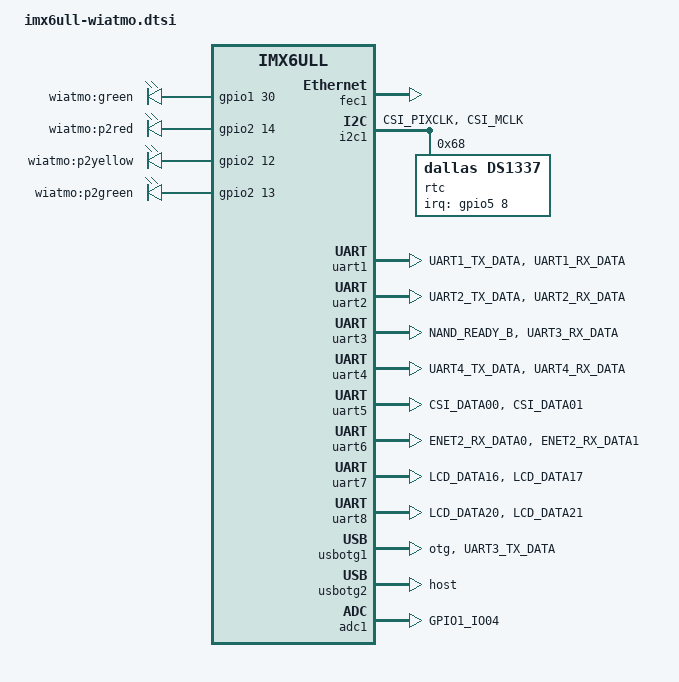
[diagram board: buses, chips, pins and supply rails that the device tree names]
/*
 * Copyright (C) NKE
 *
 */

 /dts-v1/;

 #include "imx6ull.dtsi"
 #include "imx6ull-var-som.dtsi"
 #include "imx6ul-imx6ull-var-som-emmc.dtsi"

/{

	chosen {
		stdout-path = &uart1;
	};

	leds {
		compatible = "gpio-leds";
		pinctrl-names = "default";
		pinctrl-0 = <&pinctrl_gpio_leds>;

		greenled {
			label = "wiatmo:green";
			gpios = <&gpio1 30 GPIO_ACTIVE_HIGH>;
			default-state = "off";
		};

		p2red {
			label = "wiatmo:p2red";
			gpios = <&gpio2 14 GPIO_ACTIVE_HIGH>;
			default-state = "off";
		};

		p2yellow {
			label = "wiatmo:p2yellow";
			gpios = <&gpio2 12 GPIO_ACTIVE_HIGH>;
			default-state = "off";
		};

		p2green {
			label = "wiatmo:p2green";
			gpios = <&gpio2 13 GPIO_ACTIVE_HIGH>;
			default-state = "off";
		};

	};
};


&fec1 {
	pinctrl-0 = <&pinctrl_enet1>, <&pinctrl_enet1_gpio>;
	phy-reset-on-resume;
	status = "okay";
};


&i2c1 {
	clock_frequency = <100000>;
	pinctrl-names = "default";
	pinctrl-0 = <&pinctrl_i2c1>;
	status = "okay";

	rtc@68 {
		compatible = "dallas,ds1337";
		reg = <0x68>;
		pinctrl-names = "default";

		pinctrl-0 = <&pinctrl_rtc>;

		interrupt-parent = <&gpio5>;
		interrupts = <8 IRQ_TYPE_EDGE_FALLING>;

	};
};

&snvs_rtc {
	status = "disabled";
};

&iomuxc_snvs {

	pinctrl_rtc: rtcgrp {
		fsl,pins = <
			MX6ULL_PAD_SNVS_TAMPER8__GPIO5_IO08		0x1b0b0 /* RTC alarm IRQ */
		>;
	};
};


&iomuxc {
	pinctrl-names = "default";
	pinctrl-0 = <&pinctrl_gpio_user>;


	pinctrl_usb_otg1_id: usbotg1idgrp {
		fsl,pins = <
			MX6UL_PAD_UART3_TX_DATA__ANATOP_OTG1_ID	0x17059
		>;
	};

	pinctrl_i2c1: i2c1grp {
		fsl,pins = <
			MX6UL_PAD_CSI_PIXCLK__I2C1_SCL		0x4001b8b0
			MX6UL_PAD_CSI_MCLK__I2C1_SDA		0x4001b8b0
		>;
	};

	pinctrl_uart1: uart1grp {
		fsl,pins = <
			MX6UL_PAD_UART1_TX_DATA__UART1_DCE_TX	0x1b0b1
			MX6UL_PAD_UART1_RX_DATA__UART1_DCE_RX	0x1b0b1
		>;
	};

	pinctrl_uart2: uart2grp {
		fsl,pins = <
			MX6UL_PAD_UART2_TX_DATA__UART2_DCE_TX	0x1b0b1
			MX6UL_PAD_UART2_RX_DATA__UART2_DCE_RX	0x1b0b1
		>;
	};

	pinctrl_uart3: uart3grp {
		fsl,pins = <
			MX6UL_PAD_NAND_READY_B__UART3_DCE_TX    0x1b0b1
			MX6UL_PAD_UART3_RX_DATA__UART3_DCE_RX   0x1b0b1
		>;
	};

	pinctrl_uart4: uart4grp {
		fsl,pins = <
			MX6UL_PAD_UART4_TX_DATA__UART4_DCE_TX   0x1b0b1
			MX6UL_PAD_UART4_RX_DATA__UART4_DCE_RX   0x1b0b1
		>;
	};

	pinctrl_uart5: uart5grp {
		fsl,pins = <
			MX6UL_PAD_CSI_DATA00__UART5_DCE_TX      0x1b0b1
			MX6UL_PAD_CSI_DATA01__UART5_DCE_RX      0x1b0b1
	    >;
	};

	pinctrl_uart6: uart6grp {
		fsl,pins = <
			MX6UL_PAD_ENET2_RX_DATA0__UART6_DCE_TX  0x1b0b1
			MX6UL_PAD_ENET2_RX_DATA1__UART6_DCE_RX  0x1b0b1
		>;
	};

	pinctrl_uart7: uart7grp {
		fsl,pins = <
			MX6UL_PAD_LCD_DATA16__UART7_DCE_TX      0x1b0b1
			MX6UL_PAD_LCD_DATA17__UART7_DCE_RX      0x1b0b1
		>;
	};

	pinctrl_uart8: uart8grp {
	    fsl,pins = <
			MX6UL_PAD_LCD_DATA20__UART8_DCE_TX      0x1b0b1
			MX6UL_PAD_LCD_DATA21__UART8_DCE_RX      0x1b0b1
			>;
	};

	pinctrl_gpio_leds: gpio_ledsgrp {
		fsl,pins = <
			MX6UL_PAD_UART5_TX_DATA__GPIO1_IO30		0x1b0b0 /* STATUS GREEN */
			MX6UL_PAD_ENET2_TX_CLK__GPIO2_IO14		0x1b0b0 /* P2RED */
			MX6UL_PAD_ENET2_TX_DATA1__GPIO2_IO12	0x1b0b0 /* P2YELLOW */
			MX6UL_PAD_ENET2_TX_EN__GPIO2_IO13		0x1b0b0	/* P2GREEN */
		>;
	};

	pinctrl_gpio_user: hoggrp {
		fsl,pins = <
			/* GAZ CS & MUX */
			MX6UL_PAD_LCD_DATA12__GPIO3_IO17		0x1b0b0	/* CS_GAZ */
			MX6UL_PAD_SNVS_TAMPER3__GPIO5_IO03		0x1b0b0	/* MUX_GAZ_S0 */
			MX6UL_PAD_SNVS_TAMPER5__GPIO5_IO05		0x1b0b0	/* MUX_GAZ_S1 */
			MX6UL_PAD_SNVS_TAMPER9__GPIO5_IO09		0x1b0b0	/* MUX_GAZ_S2 */

			/* POWER OUTPUTS */
			MX6UL_PAD_CSI_DATA07__GPIO4_IO28		0x1b0b0 /* CMD_P1 */

			MX6UL_PAD_ENET2_RX_EN__GPIO2_IO10		0x1b0b0 /* CMD_Port_4 */
			MX6UL_PAD_ENET2_TX_DATA0__GPIO2_IO11	0x1b0b0 /* CMD_Port_5 */
			MX6UL_PAD_LCD_ENABLE__GPIO3_IO01		0x1b0b0 /* CMD_Port_6 */
			MX6UL_PAD_LCD_HSYNC__GPIO3_IO02			0x1b0b0 /* CMD_Port_7 */
			MX6UL_PAD_LCD_VSYNC__GPIO3_IO03			0x1b0b0 /* CMD_Port_8 */

			MX6UL_PAD_LCD_DATA10__GPIO3_IO15		0x1b0b0 /* VCC_MODEM */
			MX6UL_PAD_CSI_DATA02__GPIO4_IO23		0x1b0b0 /* PERST */

			/* UART4 */
			MX6UL_PAD_UART3_CTS_B__GPIO1_IO26		0x1b0b0 /* UART4_SHDN */
			MX6UL_PAD_UART3_RTS_B__GPIO1_IO27		0x1b0b0 /* UART4_H485L232 */
			MX6UL_PAD_UART2_CTS_B__GPIO1_IO22		0x1b0b0 /* UART4_DE485 */
			MX6UL_PAD_UART2_RTS_B__GPIO1_IO23		0x1b0b0 /* UART4_TE485 */

			/* UART5 */
			MX6UL_PAD_LCD_DATA01__GPIO3_IO06		0x1b0b0 /* UART5_SHDN */
			MX6UL_PAD_LCD_DATA11__GPIO3_IO16		0x1b0b0 /* UART5_H485L232 */
			MX6UL_PAD_LCD_DATA06__GPIO3_IO11		0x1b0b0 /* UART5_DE485 */
			MX6UL_PAD_LCD_DATA07__GPIO3_IO12		0x1b0b0 /* UART5_TE485 */

			/* UART6 */
			MX6UL_PAD_LCD_DATA04__GPIO3_IO09		0x1b0b0	/* UART6_SHDN */
			MX6UL_PAD_LCD_DATA02__GPIO3_IO07		0x1b0b0	/* UART6_H485L232 */
			MX6UL_PAD_LCD_DATA03__GPIO3_IO08		0x1b0b0	/* UART6_DE485 */
			MX6UL_PAD_LCD_DATA13__GPIO3_IO18		0x1b0b0 /* UART6_TE485 */

			/* UART7 */
			MX6UL_PAD_LCD_DATA14__GPIO3_IO19		0x1b0b0 /* UART7_SHDN */
			MX6UL_PAD_LCD_DATA15__GPIO3_IO20		0x1b0b0 /* UART7_H485L232 */
			MX6UL_PAD_LCD_DATA18__GPIO3_IO23		0x1b0b0 /* UART7_DE485 */
			MX6UL_PAD_LCD_DATA19__GPIO3_IO24		0x1b0b0 /* UART7_TE485 */

			/* UART8 */
			MX6UL_PAD_LCD_DATA22__GPIO3_IO27		0x1b0b0 /* UART8_SHDN */
			MX6UL_PAD_LCD_DATA23__GPIO3_IO28		0x1b0b0 /* UART8_H485L232 */
			MX6UL_PAD_LCD_DATA08__GPIO3_IO13		0x1b0b0 /* UART8_DE485 */
			MX6UL_PAD_LCD_DATA09__GPIO3_IO14		0x1b0b0 /* UART8_TE485 */

			/* SONO */
			MX6UL_PAD_CSI_DATA04__GPIO4_IO25		0x1b0b0 /* ONOFF_SONO */

			/* VIBR */
			MX6UL_PAD_CSI_DATA05__GPIO4_IO26		0x1b0b0 /* ONOFF_VIBR */

			/* ADC */
			MX6UL_PAD_GPIO1_IO02__GPIO1_IO02		0x1b0b0 /* VBAT_CMD */

		>;
	};
	pinctrl_adc1: adc1grp {
		fsl,pins = <
			MX6UL_PAD_GPIO1_IO04__GPIO1_IO04		0xb0
		>;
	};
};

/* Console UART */
&uart1 {
	pinctrl-names = "default";
	pinctrl-0 = <&pinctrl_uart1>;
	status = "okay";
};

/* ttymxc1 UART */
&uart2 {
	pinctrl-names = "default";
	pinctrl-0 = <&pinctrl_uart2>;
	status = "okay";
};

/* ttymxc2 UART */
&uart3 {
	pinctrl-names = "default";
	pinctrl-0 = <&pinctrl_uart3>;
	status = "okay";
};

/* ttymxc3 UART */
&uart4 {
	pinctrl-names = "default";
	pinctrl-0 = <&pinctrl_uart4>;
	status = "okay";
};

/* ttymxc4 UART */
&uart5 {
	pinctrl-names = "default";
	pinctrl-0 = <&pinctrl_uart5>;
	status = "okay";
};

/* ttymxc5 UART */
&uart6 {
	pinctrl-names = "default";
	pinctrl-0 = <&pinctrl_uart6>;
	status = "okay";
};

/* ttymxc6 UART */
&uart7 {
	pinctrl-names = "default";
	pinctrl-0 = <&pinctrl_uart7>;
    status = "okay";
};

/* ttymxc7 UART */
&uart8 {
	pinctrl-names = "default";
	pinctrl-0 = <&pinctrl_uart8>;
    status = "okay";
};

&usbotg1 {
	pinctrl-names = "default";
	pinctrl-0 = <&pinctrl_usb_otg1_id>;
	dr_mode = "otg";
	disable-over-current;
	srp-disable;
	hnp-disable;
	adp-disable;
	status = "okay";
};

&usbotg2 {
	dr_mode = "host";
	disable-over-current;
	status = "okay";
};

&adc1 {
	pinctrl-names = "default";
	pinctrl-0 = <&pinctrl_adc1>;
	num-channels = <10>;
	status = "okay";
};

&gpio1 {
	gpio-line-names =
	"",					// 0
	"",					// 1
	"VBAT_CMD",			// 2
	"",					// 3
	"",					// 4
	"",					// 5
	"",					// 6
	"",					// 7
	"", 				// 8
	"",					// 9
	"",					// 10
	"",					// 11
	"",					// 12
	"",					// 13
	"",					// 14
	"",					// 15
	"",					// 16
	"",					// 17
	"",					// 18
	"",					// 19
	"",					// 20
	"",					// 21
	"UART4_DE485",		// 22
	"UART4_TE485",		// 23
	"",					// 24
	"",					// 25
	"UART4_SHDN",		// 26
	"UART4_H485L232",	// 27
	"",					// 28
	"",					// 29
	"",					// 30
	"";					// 31
};



&gpio2 {
	gpio-line-names =
	"",					// 0
	"",					// 1
	"",					// 2
	"",					// 3
	"",					// 4
	"",					// 5
	"",					// 6
	"",					// 7
	"", 				// 8
	"",					// 9
	"CMD_Port_4",		// 10
	"CMD_Port_5",		// 11
	"",					// 12
	"",					// 13
	"",					// 14
	"",					// 15
	"",					// 16
	"",					// 17
	"",					// 18
	"",					// 19
	"",					// 20
	"",					// 21
	"",					// 22
	"",					// 23
	"",					// 24
	"",					// 25
	"",					// 26
	"",					// 27
	"",					// 28
	"",					// 29
	"",					// 30
	"";					// 31
};

&gpio3 {
	gpio-line-names =
	"",					// 0
	"CMD_Port_6",		// 1
	"CMD_Port_7",		// 2
	"CMD_Port_8",		// 3
	"",					// 4
	"",					// 5
	"UART5_SHDN",		// 6
	"UART6_H485L232",	// 7
	"UART6_DE485",		// 8
	"UART6_SHDN",		// 9
	"",					// 10
	"UART5_DE485",		// 11
	"UART5_TE485",		// 12
	"UART8_DE485",		// 13
	"UART8_TE485",		// 14
	"VCC_MODEM",		// 15
	"UART5_H485L232",	// 16
	"CS_GAZ",			// 17
	"UART6_TE485",		// 18
	"UART7_SHDN",		// 19
	"UART7_H485L232",	// 20
	"",					// 21
	"",					// 22
	"UART7_DE485",		// 23
	"UART7_TE485",		// 24
	"",					// 25
	"",					// 26
	"UART8_SHDN",		// 27
	"UART8_H485L232",	// 28
	"",					// 29
	"",					// 30
	"";					// 31
};

&gpio4 {
	gpio-line-names =
	"",					// 0
	"",					// 1
	"",					// 2
	"",					// 3
	"",					// 4
	"",					// 5
	"",					// 6
	"",					// 7
	"", 				// 8
	"",					// 9
	"",					// 10
	"",					// 11
	"",					// 12
	"",					// 13
	"",					// 14
	"",					// 15
	"",					// 16
	"",					// 17
	"",					// 18
	"",					// 19
	"",					// 20
	"",					// 21
	"",					// 22
	"PERST",			// 23
	"",					// 24
	"ONOFF_SONO",		// 25
	"ONOFF_VIBR",		// 26
	"",					// 27
	"CMD_P1",			// 28
	"",					// 29
	"",					// 30
	"";					// 31
};



&gpio5 {
	gpio-line-names =
	"",					// 0
	"",					// 1
	"",					// 2
	"MUX_GAZ_S0",		// 3
	"",					// 4
	"MUX_GAZ_S1",		// 5
	"",					// 6
	"",					// 7
	"", 				// 8
	"MUX_GAZ_S2",		// 9
	"",					// 10
	"",					// 11
	"",					// 12
	"",					// 13
	"",					// 14
	"",					// 15
	"",					// 16
	"",					// 17
	"",					// 18
	"",					// 19
	"",					// 20
	"",					// 21
	"",					// 22
	"",					// 23
	"",					// 24
	"",					// 25
	"",					// 26
	"",					// 27
	"",					// 28
	"",					// 29
	"",					// 30
	"";					// 31
};
